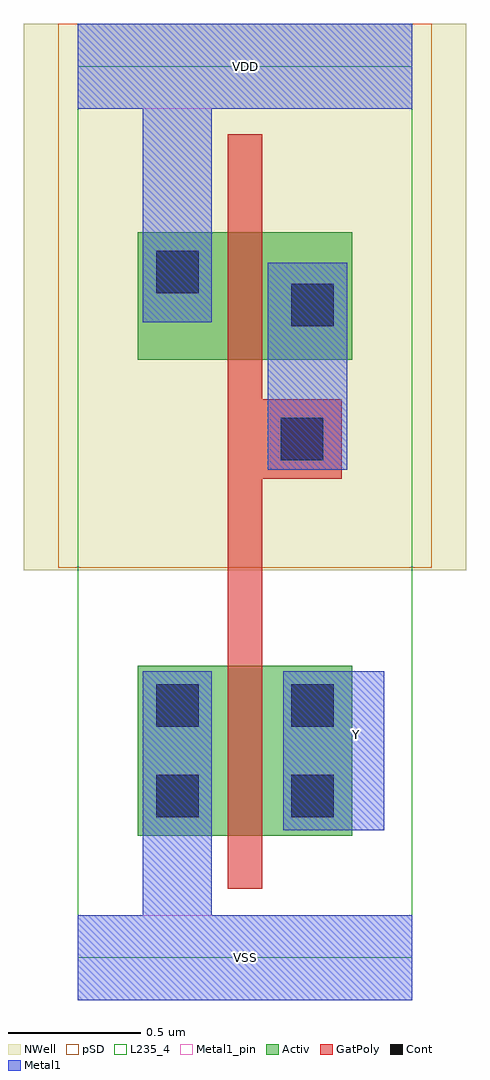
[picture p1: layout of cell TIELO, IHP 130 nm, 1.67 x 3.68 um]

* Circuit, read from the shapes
.subckt TIELO VDD VSS Y
XM1 Y n1 VSS VSUBS sg13_lv_nmos w=0.64u l=0.13u
XM2 n1 n1 VDD n2 sg13_lv_pmos w=0.48u l=0.13u
.ends

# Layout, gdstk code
import gdstk
lib = gdstk.Library(unit=1e-6, precision=1e-09)
def R(c, l, rs):  # rectangles x0, y0, x1, y1
    for r in rs: c.add(gdstk.rectangle(r[:2], r[2:], *l))
Activ = (1, 0)
GatPoly = (5, 0)
Cont = (6, 0)
Metal1 = (8, 0)
Metal1_pin = (8, 2)
pSD = (14, 0)
NWell = (31, 0)
L235_4 = (235, 4)

m1_gatpoly_cdns_76434123 = lib.new_cell('M1_GatPoly_CDNS_764341231940')
R(m1_gatpoly_cdns_76434123, GatPoly, [(-0.15,-0.15,0.15,0.15)])
R(m1_gatpoly_cdns_76434123, Cont, [(-0.08,-0.08,0.08,0.08)])
R(m1_gatpoly_cdns_76434123, Metal1, [(-0.13,-0.08,0.13,0.08)])

tielo = lib.new_cell('TIELO')
R(tielo, Activ, [(0.225,0.46,1.035,1.1), (0.225,2.255,1.035,2.735)])
R(tielo, GatPoly, [(0.565,0.26,0.695,3.105), (0.565,2.075,0.695,2.915)])
R(tielo, Cont, [(0.295,0.53,0.455,0.69), (0.805,0.53,0.965,0.69), (0.295,0.87,0.455,1.03), (0.805,0.87,0.965,1.03), (0.805,2.38,0.965,2.54), (0.295,2.505,0.455,2.665)])
R(tielo, Metal1, [(0,-0.16,1.26,0.16), (0.245,0.16,0.505,1.08), (0.775,0.48,1.015,1.08), (1.015,0.48,1.155,1.08), (0.715,1.84,1.015,2.62), (0.245,2.395,0.505,3.2), (0,3.2,1.26,3.52)])
R(tielo, Metal1_pin, [(0,-0.16,1.26,0.16), (0.775,0.48,1.155,1.08), (0,3.2,1.26,3.52)])
R(tielo, pSD, [(-0.075,1.47,1.335,3.52)])
R(tielo, NWell, [(-0.205,1.46,1.465,3.52)])
R(tielo, L235_4, [(0,0,1.26,3.36)])
tielo.add(gdstk.Reference(m1_gatpoly_cdns_76434123, (0.845,1.955)))
tielo.add(gdstk.Label('Y', (1.05,0.84), layer=8, texttype=25))
tielo.add(gdstk.Label('VSS', (0.63,0), layer=8, texttype=25))
tielo.add(gdstk.Label('VDD', (0.63,3.36), layer=8, texttype=25))

lib.write_gds('TIELO.gds')
